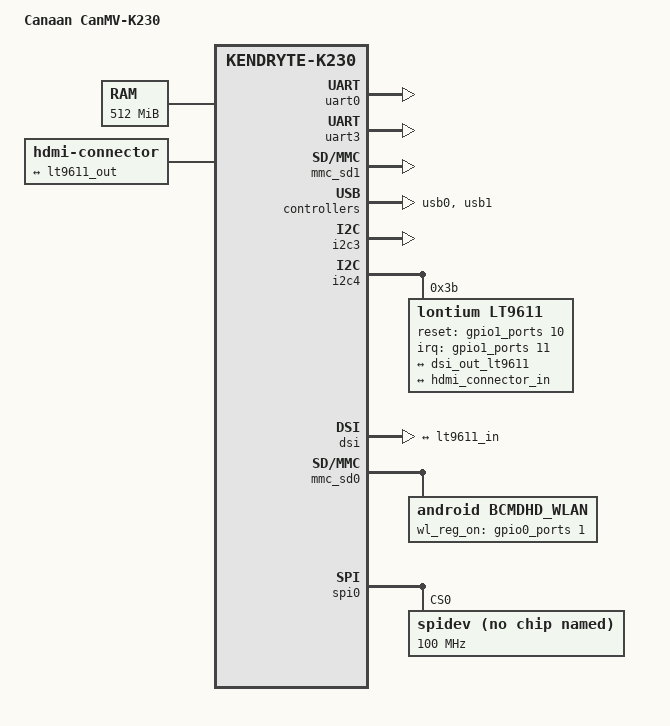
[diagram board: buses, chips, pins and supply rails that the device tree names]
// SPDX-License-Identifier: GPL-2.0 OR MIT
/*
 * Copyright (C) 2024 Yangyu Chen <cyy@cyyself.name>
 */

#include "k230.dtsi"

/ {
	model = "Canaan CanMV-K230";
	compatible = "canaan,canmv-k230", "canaan,kendryte-k230";

	aliases {
		serial3 = &uart3;
		mmc0 = &mmc_sd0;
		mmc1 = &mmc_sd1;
	};

	chosen {
		stdout-path = "serial0:115200n8";
	};

	ddr: memory@0 {
		device_type = "memory";
		reg = <0x0 0x0 0x0 0x20000000>;
	};

	sound {
		status                      = "okay";
		compatible                  = "canaan,k230-audio-inno";
		canaan,model                = "K230_I2S_INNO";
		canaan,k230-i2s-controller  = <&i2s>;
		canaan,k230-audio-codec     = <&inno_codec>;
	};
};

&uart0 {
	status = "okay";
};
&uart3 {
	status = "okay";
};
&mmc_sd1{
	status = "okay";
	no-1-8-v;
	cap-sd-highspeed;
	mshc_ctrl_r = <0x00>;
};

&usb0 {
	status = "okay";
};
&usb1 {
	status = "okay";
};

&i2c3 {
	status = "okay";
};

&i2c4 {
	status = "okay";

	lt9611: hdmi-bridge@3b {
		compatible = "lontium,lt9611";
		reg = <0x3b>;
		reset-gpios = <&gpio1_ports 10 GPIO_ACTIVE_HIGH>;
		interrupt-parent = <&gpio1_ports>;
		interrupts = <11 IRQ_TYPE_EDGE_FALLING>;
		ports {
			#address-cells  = <1>;
			#size-cells     = <0>;
			port@1 {
				reg = <1>;
				lt9611_in: endpoint {
					remote-endpoint = <&dsi_out_lt9611>;
				};
			};

			port@2 {
				reg = <2>;
				lt9611_out: endpoint {
					remote-endpoint = <&hdmi_connector_in>;
				};
			};
		};
	};
};

&dsi {
	ports {
		port@1 {
			reg = <1>;
			dsi_out_lt9611: endpoint {
				remote-endpoint = <&lt9611_in>;
			};
		};
	};
};

/ {
	hdmi: connector {
		compatible = "hdmi-connector";
		label = "hdmi";
		type = "a";

		port {
			hdmi_connector_in: endpoint {
				remote-endpoint = <&lt9611_out>;
			};
		};
	};
};

&vo {
	vth_line = <10>;
};

&mmc_sd0 {
	status = "okay";
	io_fixed_1v8;
	rx_delay_line = <0x0d>;
	tx_delay_line = <0x00>;
	bcmdhd_wlan {
		compatible = "android,bcmdhd_wlan";
		gpio_wl_reg_on = <&gpio0_ports 1 GPIO_ACTIVE_HIGH>;
	};
};

&spi0 {
	status = "okay";
	spidev@0{
		compatible = "rohm,dh2228fv";
		reg = <0>;
		spi-max-frequency = <100000000>;
	};
};
